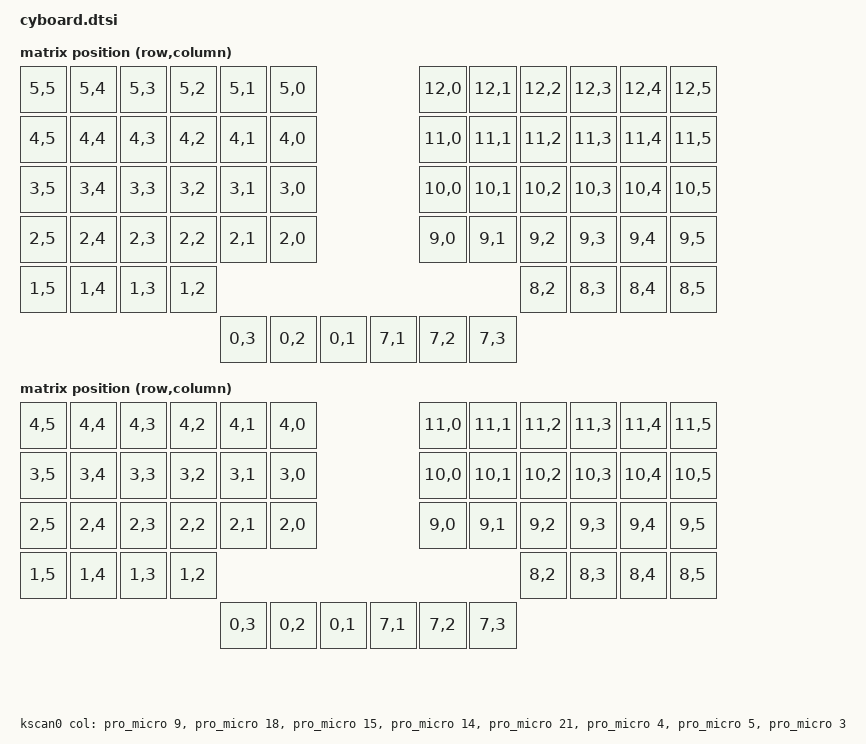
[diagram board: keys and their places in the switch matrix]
#include <dt-bindings/zmk/matrix_transform.h>

/ {
    chosen {
        zmk,kscan = &kscan0;
        zmk,matrix_transform = &default_transform;
    };

    default_transform: keymap_transform_0 {
        compatible = "zmk,matrix-transform";
        columns = <8>;
        rows = <14>;
        map = <
RC(5,5) RC(5,4) RC(5,3) RC(5,2) RC(5,1) RC(5,0)                           RC(12,0) RC(12,1) RC(12,2) RC(12,3) RC(12,4) RC(12,5)
RC(4,5) RC(4,4) RC(4,3) RC(4,2) RC(4,1) RC(4,0)                           RC(11,0) RC(11,1) RC(11,2) RC(11,3) RC(11,4) RC(11,5)
RC(3,5) RC(3,4) RC(3,3) RC(3,2) RC(3,1) RC(3,0)                           RC(10,0) RC(10,1) RC(10,2) RC(10,3) RC(10,4) RC(10,5)
RC(2,5) RC(2,4) RC(2,3) RC(2,2) RC(2,1) RC(2,0)                           RC(9,0)  RC(9,1)  RC(9,2)  RC(9,3)  RC(9,4)  RC(9,5)
RC(1,5) RC(1,4) RC(1,3) RC(1,2)                                                             RC(8,2)  RC(8,3)  RC(8,4)  RC(8,5)
                                    RC(0,3) RC(0,2) RC(0,1)   RC(7,1) RC(7,2) RC(7,3)
        >;
    };

    default_transform2: keymap_transform_1 {
        compatible = "zmk,matrix-transform";
        columns = <8>;
        rows = <14>;
        map = <
RC(4,5) RC(4,4) RC(4,3) RC(4,2) RC(4,1) RC(4,0)                           RC(11,0) RC(11,1) RC(11,2) RC(11,3) RC(11,4) RC(11,5)
RC(3,5) RC(3,4) RC(3,3) RC(3,2) RC(3,1) RC(3,0)                           RC(10,0) RC(10,1) RC(10,2) RC(10,3) RC(10,4) RC(10,5)
RC(2,5) RC(2,4) RC(2,3) RC(2,2) RC(2,1) RC(2,0)                           RC(9,0)  RC(9,1)  RC(9,2)  RC(9,3)  RC(9,4)  RC(9,5)
RC(1,5) RC(1,4) RC(1,3) RC(1,2)                                                             RC(8,2)  RC(8,3)  RC(8,4)  RC(8,5)
                                    RC(0,3) RC(0,2) RC(0,1)   RC(7,1) RC(7,2) RC(7,3)
        >;
    };

    kscan0: kscan {
        compatible = "zmk,kscan-gpio-matrix";
        label = "KSCAN";

        diode-direction = "row2col";
        col-gpios
            = <&pro_micro 9 (GPIO_ACTIVE_HIGH | GPIO_PULL_DOWN)> // col0 from schematic
            , <&pro_micro 18 (GPIO_ACTIVE_HIGH | GPIO_PULL_DOWN)> // col1 from schematic
            , <&pro_micro 15 (GPIO_ACTIVE_HIGH | GPIO_PULL_DOWN)> // col2 from schematic
            , <&pro_micro 14 (GPIO_ACTIVE_HIGH | GPIO_PULL_DOWN)> // col3 from schematic
            , <&pro_micro 21 (GPIO_ACTIVE_HIGH | GPIO_PULL_DOWN)> // col4 from schematic
            , <&pro_micro 4 (GPIO_ACTIVE_HIGH | GPIO_PULL_DOWN)> // col5 from schematic
            , <&pro_micro 5 (GPIO_ACTIVE_HIGH | GPIO_PULL_DOWN)> // col6 from schematic
            , <&pro_micro 3 (GPIO_ACTIVE_HIGH | GPIO_PULL_DOWN)> // col6 from schematic
            ;

    };
};
